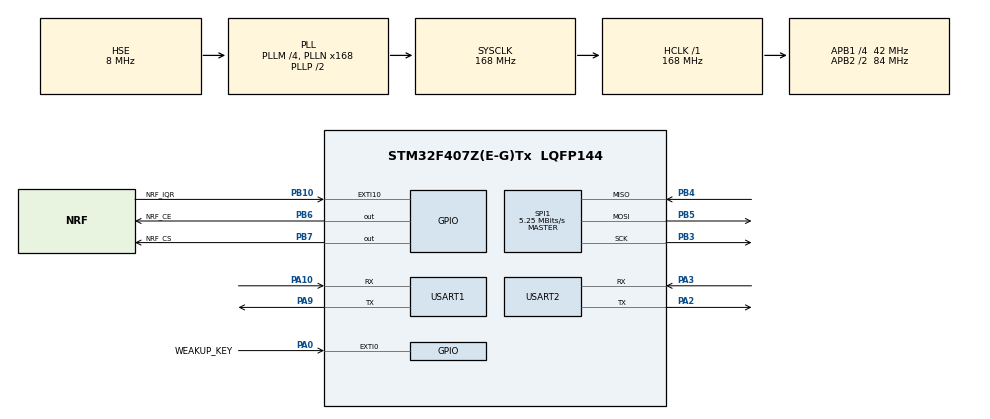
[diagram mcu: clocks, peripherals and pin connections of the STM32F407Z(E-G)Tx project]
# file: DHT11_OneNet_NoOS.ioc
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Mcu.Family=STM32F4
Mcu.Name=STM32F407Z(E-G)Tx
Mcu.Package=LQFP144
NVIC.EXTI0_IRQn=true\:0\:0\:false\:false\:true\:true\:true
NVIC.EXTI15_10_IRQn=true\:0\:0\:false\:false\:true\:true\:true
NVIC.PriorityGroup=NVIC_PRIORITYGROUP_4
NVIC.USART2_IRQn=true\:5\:0\:true\:false\:true\:true\:true
PA0-WKUP.GPIO_Label=WEAKUP_KEY
PA0-WKUP.GPIO_ModeDefaultEXTI=GPIO_MODE_IT_RISING
PA0-WKUP.GPIO_PuPd=GPIO_PULLUP
PA0-WKUP.Signal=GPXTI0
PA10.Mode=Asynchronous
PA10.Signal=USART1_RX
PA13.Mode=Serial_Wire
PA13.Signal=SYS_JTMS-SWDIO
PA14.Mode=Serial_Wire
PA14.Signal=SYS_JTCK-SWCLK
PA2.Mode=Asynchronous
PA2.Signal=USART2_TX
PA3.Mode=Asynchronous
PA3.Signal=USART2_RX
PA9.Mode=Asynchronous
PA9.Signal=USART1_TX
PB10.GPIO_Label=NRF_IQR
PB10.GPIO_PuPd=GPIO_PULLUP
PB10.Signal=GPXTI10
PB3.Mode=Full_Duplex_Master
PB3.Signal=SPI1_SCK
PB4.Mode=Full_Duplex_Master
PB4.Signal=SPI1_MISO
PB5.Mode=Full_Duplex_Master
PB5.Signal=SPI1_MOSI
PB6.GPIO_Label=NRF_CE
PB6.Signal=GPIO_Output
PB7.GPIO_Label=NRF_CS
PB7.Signal=GPIO_Output
PH0-OSC_IN.Mode=HSE-External-Oscillator
PH0-OSC_IN.Signal=RCC_OSC_IN
PH1-OSC_OUT.Mode=HSE-External-Oscillator
PH1-OSC_OUT.Signal=RCC_OSC_OUT
ProjectManager.HeapSize=0x200
ProjectManager.StackSize=0x400
ProjectManager.TargetToolchain=MDK-ARM V5.32
RCC.48MHZClocksFreq_Value=84000000
RCC.AHBFreq_Value=168000000
RCC.APB1CLKDivider=RCC_HCLK_DIV4
RCC.APB1Freq_Value=42000000
RCC.APB1TimFreq_Value=84000000
RCC.APB2CLKDivider=RCC_HCLK_DIV2
RCC.APB2Freq_Value=84000000
RCC.APB2TimFreq_Value=168000000
RCC.CortexFreq_Value=168000000
RCC.HCLKFreq_Value=168000000
RCC.HSE_VALUE=8000000
RCC.HSI_VALUE=16000000
RCC.LSE_VALUE=32768
RCC.PLLM=4
RCC.PLLN=168
RCC.PLLSourceVirtual=RCC_PLLSOURCE_HSE
RCC.SYSCLKFreq_VALUE=168000000
RCC.SYSCLKSource=RCC_SYSCLKSOURCE_PLLCLK
RCC.VCOOutputFreq_Value=336000000
SPI1.BaudRatePrescaler=SPI_BAUDRATEPRESCALER_16
SPI1.CalculateBaudRate=5.25 MBits/s
SPI1.Direction=SPI_DIRECTION_2LINES
SPI1.Mode=SPI_MODE_MASTER
SPI1.VirtualType=VM_MASTER
USART1.VirtualMode=VM_ASYNC
USART2.VirtualMode=VM_ASYNC
board=custom

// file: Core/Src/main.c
/* USER CODE BEGIN Header */
/**
 ******************************************************************************
 * @file           : main.c
 * @brief          : Main program body
 ******************************************************************************
 * @attention
 *
 * Copyright (c) 2023 STMicroelectronics.
 * All rights reserved.
 *
 * This software is licensed under terms that can be found in the LICENSE file
 * in the root directory of this software component.
 * If no LICENSE file comes with this software, it is provided AS-IS.
 *
 ******************************************************************************
 */
/* USER CODE END Header */
#include "main.h"
#include "spi.h"
#include "usart.h"
#include "gpio.h"

/* USER CODE BEGIN Includes */
#include <stdio.h>
#include "bsp_esp8266.h"
#include "onenet.h"
#include "MqttKit.h"
#include "board.h"
/* USER CODE END Includes */

/* USER CODE BEGIN PM */
#define PROID "570783"		   // 产品ID
#define AUTH_INFO "2018101045" // 鉴权信息
#define DEVID "1043147880"	   // 设备ID
#define APIKEY "m=cXh=O8EFYps6fn7rKDcVZZrVU="
#define SERVER_IP "183.230.40.39"
#define SERVER_PORT "6002"
/* USER CODE END PM */

void SystemClock_Config(void);
/* USER CODE BEGIN PFP */
void jump_to_iap(void);
/* USER CODE END PFP */

int main(void)
{
	/* USER CODE BEGIN 1 */
	/* 设置中断偏移
	 * 偏移量为用户APP起始地址 0x080000000
	 * 这里�?16KB
	 **/
	SCB->VTOR = FLASH_BASE | 0x4000;

	/* USER CODE END 1 */

	/* MCU Configuration--------------------------------------------------------*/

	/* Reset of all peripherals, Initializes the Flash interface and the Systick. */
	HAL_Init();

	/* Configure the system clock */
	SystemClock_Config();

	/* Initialize all configured peripherals */
	MX_GPIO_Init();
	MX_USART2_UART_Init();
	MX_SPI1_Init();
	MX_USART1_UART_Init();
	/* USER CODE BEGIN 2 */

	board_init();

	//	while (!OneNET_DevLink()) // 接入OneNET
	//	{
	//		delay_ms(500);
	//	}

	//	OneNet_Init(DEVID,
	//				APIKEY, AUTH_INFO, PROID, SERVER_IP, SERVER_PORT);

	// ESP8266_StaTcpClient_Unvarnish_ConfigTest();
	/* USER CODE END 2 */

	/* Infinite loop */
	/* USER CODE BEGIN WHILE */
	uint8_t *dataPtr = NULL;
	uint8_t buf[5] = {0};
	uint32_t heartbeat_timer = 0;
	while (1)
	{
		if (Tick_counter >= 5000)
		{
			heartbeat_timer++;
			Tick_counter = 0;

			// G_dht11.dataUpdate();
			printf("temp:%.02f humi:%.02f\r\n", G_dht11.obj.temperature, G_dht11.obj.humidity);

			// 数据发�?�到云端
			printf("Publish:\t");
			if (OneNET_SendData(buf))
			{
				printf("==========================\r\n"
					   "Publish is Failed.\r\n"
					   "==========================\r\n");
			}
			else
			{

				if (LED_toOFF == G_led_list.getMode(1))
					G_led_list.setupMode(1, LED_toON);
				else
					G_led_list.setupMode(1, LED_toOFF);

				printf("Success.\r\n");
			}
		}

		if (Tick_counter % 100)
		{
			nrf24l01_data_recv(buf);
			G_dht11.obj.humidity = buf[0] + (float)buf[1] / 100;
		}

		if (heartbeat_timer >= 7 * 3600)
		{ // 7h 重连
			heartbeat_timer = 0;
			OneNET_DevLink();
		}

		/* USER CODE END WHILE */

		/* USER CODE BEGIN 3 */
		dataPtr = OneNET_GetIPD(0);
		if (dataPtr)
		{
			// 命令接受�?�?(OTA预留)
			OneNET_RevPro(dataPtr);
		}
	}
	/* USER CODE END 3 */
}

void SystemClock_Config(void)
{
	RCC_OscInitTypeDef RCC_OscInitStruct = {0};
	RCC_ClkInitTypeDef RCC_ClkInitStruct = {0};

	/** Configure the main internal regulator output voltage
	 */
	__HAL_RCC_PWR_CLK_ENABLE();
	__HAL_PWR_VOLTAGESCALING_CONFIG(PWR_REGULATOR_VOLTAGE_SCALE1);
	/** Initializes the RCC Oscillators according to the specified parameters
	 * in the RCC_OscInitTypeDef structure.
	 */
	RCC_OscInitStruct.OscillatorType = RCC_OSCILLATORTYPE_HSE;
	RCC_OscInitStruct.HSEState = RCC_HSE_ON;
	RCC_OscInitStruct.PLL.PLLState = RCC_PLL_ON;
	RCC_OscInitStruct.PLL.PLLSource = RCC_PLLSOURCE_HSE;
	RCC_OscInitStruct.PLL.PLLM = 4;
	RCC_OscInitStruct.PLL.PLLN = 168;
	RCC_OscInitStruct.PLL.PLLP = RCC_PLLP_DIV2;
	RCC_OscInitStruct.PLL.PLLQ = 4;
	if (HAL_RCC_OscConfig(&RCC_OscInitStruct) != HAL_OK)
	{
		Error_Handler();
	}
	/** Initializes the CPU, AHB and APB buses clocks
	 */
	RCC_ClkInitStruct.ClockType = RCC_CLOCKTYPE_HCLK | RCC_CLOCKTYPE_SYSCLK | RCC_CLOCKTYPE_PCLK1 | RCC_CLOCKTYPE_PCLK2;
	RCC_ClkInitStruct.SYSCLKSource = RCC_SYSCLKSOURCE_PLLCLK;
	RCC_ClkInitStruct.AHBCLKDivider = RCC_SYSCLK_DIV1;
	RCC_ClkInitStruct.APB1CLKDivider = RCC_HCLK_DIV4;
	RCC_ClkInitStruct.APB2CLKDivider = RCC_HCLK_DIV2;

	if (HAL_RCC_ClockConfig(&RCC_ClkInitStruct, FLASH_LATENCY_5) != HAL_OK)
	{
		Error_Handler();
	}
}

/* USER CODE BEGIN 4 */

void jump_to_iap(void)
{

	if (SysTick->CTRL & SysTick_CTRL_CLKSOURCE_Msk)
	{ // 开启SysTick则关闭
		HAL_DeInit();
		SysTick->CTRL = 0;
		SysTick->LOAD = 0;
		SysTick->VAL = 0;
	}

	// 确定当前APP运行区域
	uint32_t address = 0x08000000;

	// 准备转跳
	uint32_t jump_address = *(volatile uint32_t *)(address + 4);
	void (*app_entry)(void) = (void (*)(void))jump_address;
	__set_MSP(*(volatile uint32_t *)address);

	// 转跳至APP
	app_entry();
}

/* USER CODE END 4 */

void Error_Handler(void)
{
	__disable_irq();
	while (1)
	{
	}
}
